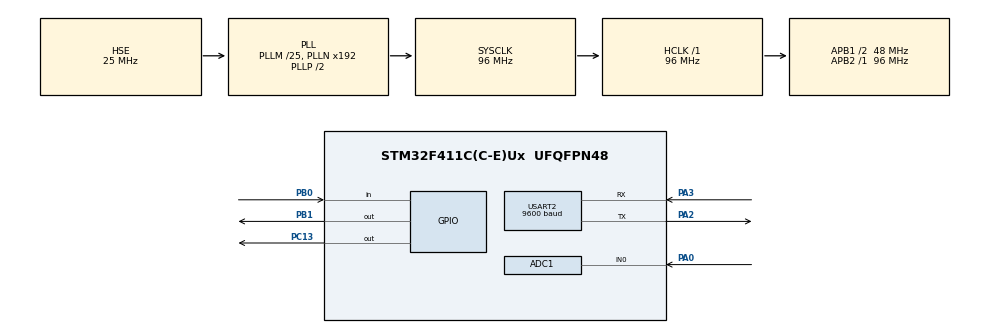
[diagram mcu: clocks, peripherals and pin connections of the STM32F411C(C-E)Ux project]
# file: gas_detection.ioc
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ADC1.Channel-0\#ChannelRegularConversion=ADC_CHANNEL_0
ADC1.NbrOfConversionFlag=1
ADC1.Rank-0\#ChannelRegularConversion=1
ADC1.SamplingTime-0\#ChannelRegularConversion=ADC_SAMPLETIME_3CYCLES
ADC1.master=1
Dma.Request0=USART2_RX
Dma.USART2_RX.0.Direction=DMA_PERIPH_TO_MEMORY
Dma.USART2_RX.0.FIFOMode=DMA_FIFOMODE_DISABLE
Dma.USART2_RX.0.Instance=DMA1_Stream5
Dma.USART2_RX.0.MemDataAlignment=DMA_MDATAALIGN_BYTE
Dma.USART2_RX.0.MemInc=DMA_MINC_ENABLE
Dma.USART2_RX.0.Mode=DMA_NORMAL
Dma.USART2_RX.0.PeriphDataAlignment=DMA_PDATAALIGN_BYTE
Dma.USART2_RX.0.PeriphInc=DMA_PINC_DISABLE
Dma.USART2_RX.0.Priority=DMA_PRIORITY_LOW
Mcu.Family=STM32F4
Mcu.Name=STM32F411C(C-E)Ux
Mcu.Package=UFQFPN48
NVIC.DMA1_Stream5_IRQn=true\:0\:0\:false\:false\:true\:false\:true\:true
NVIC.PriorityGroup=NVIC_PRIORITYGROUP_4
NVIC.USART2_IRQn=true\:0\:0\:false\:false\:true\:true\:true\:true
PA0-WKUP.Signal=ADCx_IN0
PA2.Mode=Asynchronous
PA2.Signal=USART2_TX
PA3.Mode=Asynchronous
PA3.Signal=USART2_RX
PB0.Signal=GPIO_Input
PB1.Signal=GPIO_Output
PC13-ANTI_TAMP.Signal=GPIO_Output
PH0\ -\ OSC_IN.Mode=HSE-External-Oscillator
PH0\ -\ OSC_IN.Signal=RCC_OSC_IN
PH1\ -\ OSC_OUT.Mode=HSE-External-Oscillator
PH1\ -\ OSC_OUT.Signal=RCC_OSC_OUT
ProjectManager.HeapSize=0x200
ProjectManager.StackSize=0x400
ProjectManager.TargetToolchain=STM32CubeIDE
RCC.48MHZClocksFreq_Value=48000000
RCC.AHBFreq_Value=96000000
RCC.APB1CLKDivider=RCC_HCLK_DIV2
RCC.APB1Freq_Value=48000000
RCC.APB1TimFreq_Value=96000000
RCC.APB2Freq_Value=96000000
RCC.APB2TimFreq_Value=96000000
RCC.CortexFreq_Value=96000000
RCC.HCLKFreq_Value=96000000
RCC.HSE_VALUE=25000000
RCC.HSI_VALUE=16000000
RCC.LSE_VALUE=32768
RCC.PLLM=25
RCC.PLLSourceVirtual=RCC_PLLSOURCE_HSE
RCC.SYSCLKFreq_VALUE=96000000
RCC.SYSCLKSource=RCC_SYSCLKSOURCE_PLLCLK
RCC.VCOOutputFreq_Value=192000000
SH.ADCx_IN0.0=ADC1_IN0,IN0
USART2.BaudRate=9600
USART2.VirtualMode=VM_ASYNC
board=custom

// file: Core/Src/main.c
/* USER CODE BEGIN Header */
/**
  ******************************************************************************
  * @file           : main.c
  * @brief          : Main program body
  ******************************************************************************
  * @attention
  *
  * Copyright (c) 2024 STMicroelectronics.
  * All rights reserved.
  *
  * This software is licensed under terms that can be found in the LICENSE file
  * in the root directory of this software component.
  * If no LICENSE file comes with this software, it is provided AS-IS.
  *
  ******************************************************************************
  */
/* USER CODE END Header */
#include "main.h"

/* USER CODE BEGIN Includes */
#include "string.h"
/* USER CODE END Includes */

/* USER CODE BEGIN PD */
#define RXBUFSIZE 12	/*uart*/
#define MAINBUFSIZE 12	/*uart*/
#define PRESSURE_RXBUFSIZE 12	/*uart*/
#define PRESSURE_R_DROP 200	/*oxygen_pressure resistor dropper*/
#define	CONCENTRATION_THRESH	20*10	/*percentage lower limit*/
#define	FLOWRATE_UPPER_THRESH	5*10	/*litres per minute*/
#define	FLOWRATE_LOWER_THRESH	1	/*0.1 litres per minute*/
#define TEMPERATURE_THRESH 60*10	/*degrees celsius upper limit*/
#define PRESSURE_THRESH 5	/*bar*/
#define o2conc_ind 0
#define o2flow_ind 1
#define o2temp_ind 2
/* USER CODE END PD */

ADC_HandleTypeDef hadc1;
DMA_HandleTypeDef hdma_adc1;

UART_HandleTypeDef huart2;
DMA_HandleTypeDef hdma_usart2_rx;

/* USER CODE BEGIN PV */
uint16_t oxygen_concentration;
uint16_t oxygen_flowrate;
uint16_t oxygen_temperature;
uint16_t oxygen_params_buf[3];
uint16_t oxygen_params[3];
uint32_t oxygen_pressure;
int16_t oxygen_deltas[3];
int feedback_pin;	/*feedback pin*/

/*uart_variables*/
uint8_t RxBuf[RXBUFSIZE];
uint8_t MainBuf[MAINBUFSIZE];
uint16_t oldPos = 0;
uint16_t newPos = 0;
/* USER CODE END PV */

void SystemClock_Config(void);
static void MX_GPIO_Init(void);
static void MX_DMA_Init(void);
static void MX_USART2_UART_Init(void);
static void MX_ADC1_Init(void);
/* USER CODE BEGIN PFP */
void HAL_UARTEx_RxEventCallback(UART_HandleTypeDef *huart, uint16_t Size);
int check_main_buf(uint8_t *buf, uint16_t size);
int modder(int num);
void get_oxygen_params(uint8_t *buf_p, uint16_t *oxygen_params);
int electrode_power_status(void);
void power_electrodes(int power_direction);
void HAL_ADC_ConvCpltCallback(ADC_HandleTypeDef *hadc);
/* USER CODE END PFP */

/* USER CODE BEGIN 0 */
void HAL_UARTEx_RxEventCallback(UART_HandleTypeDef *huart, uint16_t Size)
{
	if (huart->Instance == USART2)
	{
		oldPos = newPos;  // Update the last position before copying new data

		/* If the data in large and it is about to exceed the buffer size, we have to route it to the start of the buffer
		 * This is to maintain the circular buffer
		 * The old data in the main buffer will be overlapped
		 */
		if (oldPos+Size > MAINBUFSIZE)  // If the current position + new data size is greater than the main buffer
		{
			uint16_t datatocopy = MAINBUFSIZE-oldPos;  // find out how much space is left in the main buffer
			memcpy ((uint8_t *)MainBuf+oldPos, RxBuf, datatocopy);  // copy data in that remaining space

			oldPos = 0;  // point to the start of the buffer
			memcpy ((uint8_t *)MainBuf, (uint8_t *)RxBuf+datatocopy, (Size-datatocopy));  // copy the remaining data
			newPos = (Size-datatocopy);  // update the position
		}

		/* if the current position + new data size is less than the main buffer
		 * we will simply copy the data into the buffer and update the position
		 */
		else
		{
			memcpy ((uint8_t *)MainBuf+oldPos, RxBuf, Size);
			newPos = Size+oldPos;
		}

		/* start the DMA again */
		HAL_UARTEx_ReceiveToIdle_DMA(&huart2, (uint8_t *) RxBuf, RXBUFSIZE);
		__HAL_DMA_DISABLE_IT(&hdma_usart2_rx, DMA_IT_HT);

	}

}

int check_main_buf(uint8_t *buf_p, uint16_t buf_size)
{
	int j, buf_ok = -1;
	for (int i = 0; i < buf_size * 2; i++)
	{
		j = i % buf_size;
		if ((RxBuf[j] == 0x16) && (RxBuf[j+1] == 0x09) && (RxBuf[j+1] == 0x01))
		{
			buf_ok = j;
			break;
		}
	}

	return (buf_ok);
}

int modder(int num)
{
	return (num % MAINBUFSIZE);
}

void get_oxygen_params(uint8_t *buf_p, uint16_t *oxygen_params)
{
	int buf_ok = check_main_buf(buf_p, MAINBUFSIZE);

	if (buf_ok > 0)
	{
		oxygen_params[0] = buf_p[modder(buf_ok + 3)] * 256 + buf_p[modder(buf_ok + 4)];
		oxygen_params[1] = buf_p[modder(buf_ok + 5)] * 256 + buf_p[modder(buf_ok + 6)];
		oxygen_params[2] = buf_p[modder(buf_ok + 7)] * 256 + buf_p[modder(buf_ok + 8)];
	}

	else
	{
		oxygen_params[0] = 0;
		oxygen_params[1] = 0;
		oxygen_params[2] = 0;
	}
}

int electrode_power_status(void)
{
	return (HAL_GPIO_ReadPin(GPIOB, GPIO_PIN_0));
}

void power_electrodes(int power_direction)	/* power off electrodes using relay */
{
	HAL_GPIO_WritePin(GPIOB, GPIO_PIN_1, power_direction);
	/* confirm electrodes power to be off
	 * if not off flash the led
	 */
	while (electrode_power_status() != power_direction)
	{
		HAL_GPIO_TogglePin(GPIOC, GPIO_PIN_13);
		HAL_Delay(250);
	}
}

void HAL_ADC_ConvCpltCallback(ADC_HandleTypeDef *hadc)
{
	/* pressure sensor output is 4-20mA and takes input of 10-30VDC
	 * pressure sensor can measure 0-16bar
	 * atmospheric pressure is 1.01325bar
	 * 4mA is 1.01325bar and we can say 20mA is 16bar
	 * We can assume the pressure-current relationship is linear and use a formula
	 * y = mx + c
	 * m = (20-4)/(16-1) = (1/3)[mA/bar]
	 * with a defined resistance r, m can be (r/3)[mV/bar]
	 * voltage read from the drop across the resistor can be converted to pressure in bar
	 * x = y/m
	 */

	oxygen_pressure = (HAL_ADC_GetValue(&hadc1) * (4/4096)) / (PRESSURE_R_DROP / 3);

}
/* USER CODE END 0 */

int main(void)
{

  /* MCU Configuration--------------------------------------------------------*/

  /* Reset of all peripherals, Initializes the Flash interface and the Systick. */
  HAL_Init();

  /* Configure the system clock */
  SystemClock_Config();

  /* Initialize all configured peripherals */
  MX_GPIO_Init();
  MX_DMA_Init();
  MX_USART2_UART_Init();
  MX_ADC1_Init();
  /* USER CODE BEGIN 2 */
  HAL_ADC_Start_DMA(&hadc1, (uint32_t *)oxygen_pressure, 1);
  /* USER CODE END 2 */

  /* Infinite loop */
  /* USER CODE BEGIN WHILE */
  while (1)
  {
	  /* store oxygen parameters to buffer before updating */
	  if (oxygen_params[2] != 0)	/* if temperature is not equal to 0 */
	  {
		  for (int i = 0; i < 3; i++)
		  {
			  oxygen_params_buf[i] = oxygen_params[i];
		  }
	  }

	  /* update oxygen parameters */
	  get_oxygen_params(MainBuf, oxygen_params);
	  if (oxygen_params[2] != 0)	/* if temperature is not equal to 0. Valid data */
	  {
		  for (int i = 0; i < 3; i++)
		  {
			  oxygen_deltas[i] = oxygen_params[i] - oxygen_params_buf[i];
		  }

		  oxygen_concentration = oxygen_params[o2conc_ind];
		  oxygen_flowrate = oxygen_params[o2flow_ind];
		  oxygen_temperature = oxygen_params[o2temp_ind];

		  if (oxygen_concentration < CONCENTRATION_THRESH)
		  {
			  /* if concentration is lower than threshold
			   * and is increasing and electrode power is on, could be system has been powered on for the 1st time
			   * and is decreasing and electrode power is on, there is a likelihood of leakage
			   * power off electrodes
			   */
			  if (oxygen_deltas[o2conc_ind] < 0 && electrode_power_status())
			  {
				  power_electrodes(0);
			  }
		  }

		  if (oxygen_flowrate > FLOWRATE_UPPER_THRESH)
		  {
			  /* if flowrate is greater than upper threshold
			   * and electrode power is on, we should power off electrodes
			   */
			  if (electrode_power_status())
			  {
				  power_electrodes(0);
			  }
		  }
		  else if (oxygen_flowrate < FLOWRATE_LOWER_THRESH)
		  {
			  /* if flowrate is less than lower threshold
			   * and is increasing and electrode power is on, could be system has been powered back on
			   * and is decreasing and electrode power is off, power on electrodes
			   * and is decreasing and electrode power is on, there is a likelihood of leakage , power off electrodes
			   */
			  if (oxygen_deltas[o2flow_ind] < 0 && !electrode_power_status())
			  {
				  power_electrodes(1);
			  }
			  else if (oxygen_deltas[o2flow_ind] < 0 && !electrode_power_status())
			  {
				  power_electrodes(1);
			  }
		  }

		  if (oxygen_temperature > TEMPERATURE_THRESH)
		  {
			  /* if temperature is greater than upper threshold
			   * power off electrodes
			   */
			  power_electrodes(0);
		  }
	  }

	  if (oxygen_pressure > PRESSURE_THRESH && oxygen_flowrate > 0)
	  {
		  /* if pressure is greater than upper threshold
		   * and there is flow into the collection tank
		   * power off electrodes
		   */
		  power_electrodes(0);
	  }

    /* USER CODE END WHILE */

  }
}

void SystemClock_Config(void)
{
  RCC_OscInitTypeDef RCC_OscInitStruct = {0};
  RCC_ClkInitTypeDef RCC_ClkInitStruct = {0};

  /** Configure the main internal regulator output voltage
  */
  __HAL_RCC_PWR_CLK_ENABLE();
  __HAL_PWR_VOLTAGESCALING_CONFIG(PWR_REGULATOR_VOLTAGE_SCALE1);

  /** Initializes the RCC Oscillators according to the specified parameters
  * in the RCC_OscInitTypeDef structure.
  */
  RCC_OscInitStruct.OscillatorType = RCC_OSCILLATORTYPE_HSE;
  RCC_OscInitStruct.HSEState = RCC_HSE_ON;
  RCC_OscInitStruct.PLL.PLLState = RCC_PLL_ON;
  RCC_OscInitStruct.PLL.PLLSource = RCC_PLLSOURCE_HSE;
  RCC_OscInitStruct.PLL.PLLM = 25;
  RCC_OscInitStruct.PLL.PLLN = 192;
  RCC_OscInitStruct.PLL.PLLP = RCC_PLLP_DIV2;
  RCC_OscInitStruct.PLL.PLLQ = 4;
  if (HAL_RCC_OscConfig(&RCC_OscInitStruct) != HAL_OK)
  {
    Error_Handler();
  }

  /** Initializes the CPU, AHB and APB buses clocks
  */
  RCC_ClkInitStruct.ClockType = RCC_CLOCKTYPE_HCLK|RCC_CLOCKTYPE_SYSCLK
                              |RCC_CLOCKTYPE_PCLK1|RCC_CLOCKTYPE_PCLK2;
  RCC_ClkInitStruct.SYSCLKSource = RCC_SYSCLKSOURCE_PLLCLK;
  RCC_ClkInitStruct.AHBCLKDivider = RCC_SYSCLK_DIV1;
  RCC_ClkInitStruct.APB1CLKDivider = RCC_HCLK_DIV2;
  RCC_ClkInitStruct.APB2CLKDivider = RCC_HCLK_DIV1;

  if (HAL_RCC_ClockConfig(&RCC_ClkInitStruct, FLASH_LATENCY_3) != HAL_OK)
  {
    Error_Handler();
  }
}

static void MX_ADC1_Init(void)
{

  ADC_ChannelConfTypeDef sConfig = {0};

  /** Configure the global features of the ADC (Clock, Resolution, Data Alignment and number of conversion)
  */
  hadc1.Instance = ADC1;
  hadc1.Init.ClockPrescaler = ADC_CLOCK_SYNC_PCLK_DIV4;
  hadc1.Init.Resolution = ADC_RESOLUTION_12B;
  hadc1.Init.ScanConvMode = DISABLE;
  hadc1.Init.ContinuousConvMode = ENABLE;
  hadc1.Init.DiscontinuousConvMode = DISABLE;
  hadc1.Init.ExternalTrigConvEdge = ADC_EXTERNALTRIGCONVEDGE_NONE;
  hadc1.Init.ExternalTrigConv = ADC_SOFTWARE_START;
  hadc1.Init.DataAlign = ADC_DATAALIGN_RIGHT;
  hadc1.Init.NbrOfConversion = 1;
  hadc1.Init.DMAContinuousRequests = ENABLE;
  hadc1.Init.EOCSelection = ADC_EOC_SINGLE_CONV;
  if (HAL_ADC_Init(&hadc1) != HAL_OK)
  {
    Error_Handler();
  }

  /** Configure for the selected ADC regular channel its corresponding rank in the sequencer and its sample time.
  */
  sConfig.Channel = ADC_CHANNEL_0;
  sConfig.Rank = 1;
  sConfig.SamplingTime = ADC_SAMPLETIME_15CYCLES;
  if (HAL_ADC_ConfigChannel(&hadc1, &sConfig) != HAL_OK)
  {
    Error_Handler();
  }

}

static void MX_USART2_UART_Init(void)
{

  huart2.Instance = USART2;
  huart2.Init.BaudRate = 9600;
  huart2.Init.WordLength = UART_WORDLENGTH_8B;
  huart2.Init.StopBits = UART_STOPBITS_1;
  huart2.Init.Parity = UART_PARITY_NONE;
  huart2.Init.Mode = UART_MODE_TX_RX;
  huart2.Init.HwFlowCtl = UART_HWCONTROL_NONE;
  huart2.Init.OverSampling = UART_OVERSAMPLING_16;
  if (HAL_UART_Init(&huart2) != HAL_OK)
  {
    Error_Handler();
  }

}

static void MX_DMA_Init(void)
{

  /* DMA controller clock enable */
  __HAL_RCC_DMA1_CLK_ENABLE();
  __HAL_RCC_DMA2_CLK_ENABLE();

  /* DMA interrupt init */
  /* DMA1_Stream5_IRQn interrupt configuration */
  HAL_NVIC_SetPriority(DMA1_Stream5_IRQn, 0, 0);
  HAL_NVIC_EnableIRQ(DMA1_Stream5_IRQn);
  /* DMA2_Stream0_IRQn interrupt configuration */
  HAL_NVIC_SetPriority(DMA2_Stream0_IRQn, 0, 0);
  HAL_NVIC_EnableIRQ(DMA2_Stream0_IRQn);

}

static void MX_GPIO_Init(void)
{
  GPIO_InitTypeDef GPIO_InitStruct = {0};

  /* GPIO Ports Clock Enable */
  __HAL_RCC_GPIOC_CLK_ENABLE();
  __HAL_RCC_GPIOH_CLK_ENABLE();
  __HAL_RCC_GPIOA_CLK_ENABLE();
  __HAL_RCC_GPIOB_CLK_ENABLE();

  /*Configure GPIO pin Output Level */
  HAL_GPIO_WritePin(GPIOC, GPIO_PIN_13, GPIO_PIN_RESET);

  /*Configure GPIO pin Output Level */
  HAL_GPIO_WritePin(GPIOB, GPIO_PIN_1, GPIO_PIN_RESET);

  /*Configure GPIO pin : PC13 */
  GPIO_InitStruct.Pin = GPIO_PIN_13;
  GPIO_InitStruct.Mode = GPIO_MODE_OUTPUT_PP;
  GPIO_InitStruct.Pull = GPIO_NOPULL;
  GPIO_InitStruct.Speed = GPIO_SPEED_FREQ_LOW;
  HAL_GPIO_Init(GPIOC, &GPIO_InitStruct);

  /*Configure GPIO pin : PB0 */
  GPIO_InitStruct.Pin = GPIO_PIN_0;
  GPIO_InitStruct.Mode = GPIO_MODE_INPUT;
  GPIO_InitStruct.Pull = GPIO_NOPULL;
  HAL_GPIO_Init(GPIOB, &GPIO_InitStruct);

  /*Configure GPIO pin : PB1 */
  GPIO_InitStruct.Pin = GPIO_PIN_1;
  GPIO_InitStruct.Mode = GPIO_MODE_OUTPUT_PP;
  GPIO_InitStruct.Pull = GPIO_NOPULL;
  GPIO_InitStruct.Speed = GPIO_SPEED_FREQ_LOW;
  HAL_GPIO_Init(GPIOB, &GPIO_InitStruct);

}

void Error_Handler(void)
{
  __disable_irq();
  while (1)
  {
  }
}
